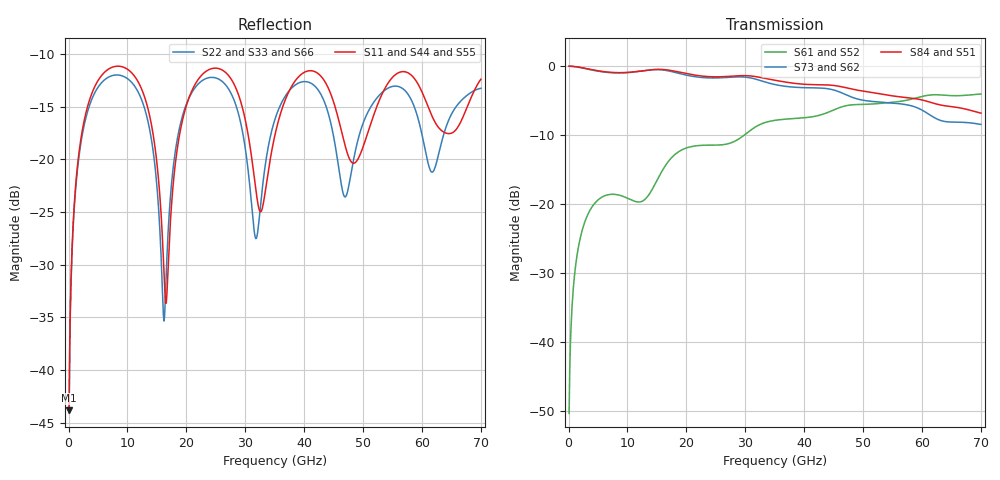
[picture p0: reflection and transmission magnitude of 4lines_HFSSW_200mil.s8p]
! Created Sat Jun  6 10:41:17 2020
# hz S ma R 50
! 8 Port Network Data from SP1.SP block
! freq  magS11  angS11  magS12  angS12  magS13  angS13  magS14  angS14
!  magS15  angS15  magS16  angS16  magS17  angS17  magS18  angS18
!  magS21  angS21  magS22  angS22  magS23  angS23  magS24  angS24
!  magS25  angS25  magS26  angS26  magS27  angS27  magS28  angS28
!  magS31  angS31  magS32  angS32  magS33  angS33  magS34  angS34
!  magS35  angS35  magS36  angS36  magS37  angS37  magS38  angS38
!  magS41  angS41  magS42  angS42  magS43  angS43  magS44  angS44
!  magS45  angS45  magS46  angS46  magS47  angS47  magS48  angS48
!  magS51  angS51  magS52  angS52  magS53  angS53  magS54  angS54
!  magS55  angS55  magS56  angS56  magS57  angS57  magS58  angS58
!  magS61  angS61  magS62  angS62  magS63  angS63  magS64  angS64
!  magS65  angS65  magS66  angS66  magS67  angS67  magS68  angS68
!  magS71  angS71  magS72  angS72  magS73  angS73  magS74  angS74
!  magS75  angS75  magS76  angS76  magS77  angS77  magS78  angS78
!  magS81  angS81  magS82  angS82  magS83  angS83  magS84  angS84
!  magS85  angS85  magS86  angS86  magS87  angS87  magS88  angS88
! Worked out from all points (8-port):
!   700 points, 100 MHz to 70 GHz, reference 50 ohm
!   strongest paths, dB at 100 MHz, 17.6 GHz, 35.1 GHz, 52.6 GHz, 70 GHz:
!     S84: 0.0, -0.7, -2.1, -4.0, -6.8
!     S51: 0.0, -0.7, -2.1, -4.0, -6.8
!     S73: 0.0, -0.8, -2.7, -5.2, -8.4
!     S62: 0.0, -0.8, -2.7, -5.2, -8.4
!     S61: -50.3, -13.2, -7.8, -5.4, -4.0
!     S52: -50.3, -13.2, -7.8, -5.4, -4.0
!   lowest |S11| = -43.8 dB at 100 MHz (marker M1), VSWR 1.01, Z = 50 + j0.643 ohm
!   |S11| at or under -10 dB: start of sweep to end of sweep
